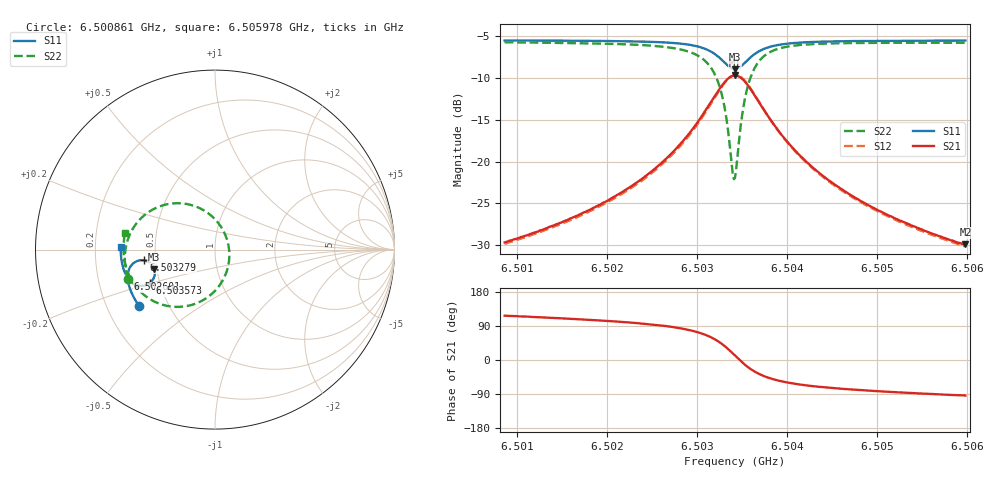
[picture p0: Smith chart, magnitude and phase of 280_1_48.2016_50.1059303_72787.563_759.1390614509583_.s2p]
#  HZ  S  RI  R  50.00
! Rohde & Schwarz Vector Network Analyzer
! Rohde-Schwarz,ZNB20-2Port,1311601062101988,3.16
! Created: UTC 3/20/2024, 11:48:37 AM
! freq[Hz]  re:S11  im:S11  re:S21  im:S21  re:S12  im:S12  re:S22  im:S22
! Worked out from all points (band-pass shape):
!   401 points, 6.500861 GHz to 6.505978 GHz, reference 50 ohm
!   highest |S21| = -9.75 dB at 6.50342 GHz (marker M1); lowest = -29.9 dB at 6.505978 GHz (marker M2)
!   |S21| within 3 dB of the highest: 6.503163 GHz to 6.503675 GHz (511.9 kHz wide, 0.00787 % of centre)
!   lowest |S11| = -9.0 dB at 6.50342 GHz (marker M3), VSWR 2.10, Z = 24.2 - j6.04 ohm
!   |S11| at or under -10 dB: nowhere
!   |S22| runs from -22.1 to -5.8 dB; largest |S21 - S12| = 0.011
!   S11 on the Smith chart (normalised r, x): 6.500861 GHz: 0.34, -0.30; 6.502601 GHz: 0.33, -0.15; 6.503279 GHz: 0.43, -0.06; 6.503573 GHz: 0.44, -0.20; 6.505978 GHz: 0.31, +0.01
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6.5008606e9  -0.4221 -0.3147  -0.0149 0.0294  -0.0132 0.0295  -0.4873 -0.1622
6.5017179e9  -0.4596 -0.2523  -0.0144 0.0469  -0.012 0.0465  -0.5018 -0.0724
6.5021913e9  -0.4765 -0.2108  -0.0116 0.066  -0.00867 0.065  -0.4997 -0.00646
6.5025751e9  -0.4859 -0.1689  -0.00285 0.0952  0.000766 0.0929  -0.4811 0.0686
6.5026007e9  -0.4863 -0.1658  -0.00162 0.0978  0.00196 0.0954  -0.4787 0.075
6.5028438e9  -0.485 -0.1301  0.0177 0.1317  0.0214 0.128  -0.4381 0.1457
6.5030229e9  -0.4723 -0.0963  0.0547 0.1683  0.0578 0.163  -0.3653 0.2123
6.5031765e9  -0.4391 -0.066  0.1285 0.1987  0.1296 0.1922  -0.2301 0.2577
6.5032788e9  -0.3964 -0.0592  0.2135 0.1897  0.2138 0.1842  -0.082 0.2294
6.50333e9  -0.371 -0.068  0.2618 0.1615  0.2624 0.157  -0.00206 0.1717
6.503394e9  -0.3445 -0.0944  0.3088 0.098  0.3114 0.0931  0.0689 0.0496
6.5034195e9  -0.3383 -0.1088  0.3188 0.0661  0.3219 0.0603  0.0793 -0.00986
6.5034451e9  -0.3354 -0.1244  0.3223 0.0326  0.3258 0.0259  0.0773 -0.0708
6.5035091e9  -0.3426 -0.1611  0.3043 -0.0444  0.3062 -0.0542  0.0217 -0.2043
6.5035731e9  -0.3637 -0.1866  0.2617 -0.0978  0.2603 -0.1088  -0.0741 -0.2857
6.5036754e9  -0.4029 -0.2014  0.1877 -0.1334  0.1824 -0.1426  -0.2226 -0.3191
6.5038418e9  -0.4486 -0.1917  0.1072 -0.1304  0.1003 -0.1351  -0.3676 -0.2725
6.5040209e9  -0.4757 -0.1703  0.0632 -0.1105  0.057 -0.1127  -0.4389 -0.2082
6.5042768e9  -0.4962 -0.1403  0.0334 -0.0865  0.0289 -0.087  -0.4818 -0.1368
6.5046734e9  -0.5121 -0.0994  0.0143 -0.063  0.0112 -0.0627  -0.5043 -0.06
6.505134e9  -0.5211 -0.0572  0.00493 -0.0472  0.0027 -0.0467  -0.51 0.00365
6.5059785e9  -0.5258 0.014  -0.00205 -0.032  -0.00334 -0.0311  -0.5017 0.0922
